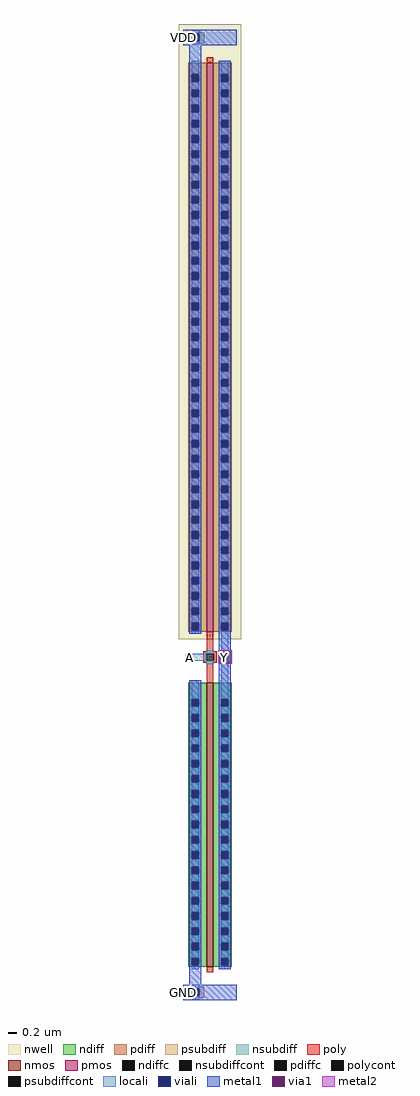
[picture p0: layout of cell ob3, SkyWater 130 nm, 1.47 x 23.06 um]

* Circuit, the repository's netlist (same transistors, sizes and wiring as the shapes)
* NGSPICE file created from ob3.ext - technology: sky130A

.subckt ob3 A Y VDD GND
X0 Y A GND GND sky130_fd_pr__nfet_01v8 ad=2.9568 pd=14.32 as=2.9568 ps=14.32 w=6.72 l=0.15
X1 Y A VDD VDD sky130_fd_pr__pfet_01v8 ad=5.9136 pd=27.76 as=5.9136 ps=27.76 w=13.44 l=0.15
.ends

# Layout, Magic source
magic
tech sky130A
magscale 1 2
<< nwell >>
rect 0 1668 294 4576
<< nmos >>
rect 132 120 162 1464
<< pmos >>
rect 132 1704 162 4392
<< ndiff >>
rect 44 1386 132 1464
rect 44 1352 60 1386
rect 94 1352 132 1386
rect 44 1314 132 1352
rect 44 1280 60 1314
rect 94 1280 132 1314
rect 44 1242 132 1280
rect 44 1208 60 1242
rect 94 1208 132 1242
rect 44 1170 132 1208
rect 44 1136 60 1170
rect 94 1136 132 1170
rect 44 1098 132 1136
rect 44 1064 60 1098
rect 94 1064 132 1098
rect 44 1026 132 1064
rect 44 992 60 1026
rect 94 992 132 1026
rect 44 954 132 992
rect 44 920 60 954
rect 94 920 132 954
rect 44 882 132 920
rect 44 848 60 882
rect 94 848 132 882
rect 44 810 132 848
rect 44 776 60 810
rect 94 776 132 810
rect 44 738 132 776
rect 44 704 60 738
rect 94 704 132 738
rect 44 666 132 704
rect 44 632 60 666
rect 94 632 132 666
rect 44 594 132 632
rect 44 560 60 594
rect 94 560 132 594
rect 44 522 132 560
rect 44 488 60 522
rect 94 488 132 522
rect 44 450 132 488
rect 44 416 60 450
rect 94 416 132 450
rect 44 378 132 416
rect 44 344 60 378
rect 94 344 132 378
rect 44 306 132 344
rect 44 272 60 306
rect 94 272 132 306
rect 44 234 132 272
rect 44 200 60 234
rect 94 200 132 234
rect 44 162 132 200
rect 44 128 60 162
rect 94 128 132 162
rect 44 120 132 128
rect 162 1386 250 1464
rect 162 1352 200 1386
rect 234 1352 250 1386
rect 162 1314 250 1352
rect 162 1280 200 1314
rect 234 1280 250 1314
rect 162 1242 250 1280
rect 162 1208 200 1242
rect 234 1208 250 1242
rect 162 1170 250 1208
rect 162 1136 200 1170
rect 234 1136 250 1170
rect 162 1098 250 1136
rect 162 1064 200 1098
rect 234 1064 250 1098
rect 162 1026 250 1064
rect 162 992 200 1026
rect 234 992 250 1026
rect 162 954 250 992
rect 162 920 200 954
rect 234 920 250 954
rect 162 882 250 920
rect 162 848 200 882
rect 234 848 250 882
rect 162 810 250 848
rect 162 776 200 810
rect 234 776 250 810
rect 162 738 250 776
rect 162 704 200 738
rect 234 704 250 738
rect 162 666 250 704
rect 162 632 200 666
rect 234 632 250 666
rect 162 594 250 632
rect 162 560 200 594
rect 234 560 250 594
rect 162 522 250 560
rect 162 488 200 522
rect 234 488 250 522
rect 162 450 250 488
rect 162 416 200 450
rect 234 416 250 450
rect 162 378 250 416
rect 162 344 200 378
rect 234 344 250 378
rect 162 306 250 344
rect 162 272 200 306
rect 234 272 250 306
rect 162 234 250 272
rect 162 200 200 234
rect 234 200 250 234
rect 162 162 250 200
rect 162 128 200 162
rect 234 128 250 162
rect 162 120 250 128
<< pdiff >>
rect 44 4338 132 4392
rect 44 4304 60 4338
rect 94 4304 132 4338
rect 44 4266 132 4304
rect 44 4232 60 4266
rect 94 4232 132 4266
rect 44 4194 132 4232
rect 44 4160 60 4194
rect 94 4160 132 4194
rect 44 4122 132 4160
rect 44 4088 60 4122
rect 94 4088 132 4122
rect 44 4050 132 4088
rect 44 4016 60 4050
rect 94 4016 132 4050
rect 44 3978 132 4016
rect 44 3944 60 3978
rect 94 3944 132 3978
rect 44 3906 132 3944
rect 44 3872 60 3906
rect 94 3872 132 3906
rect 44 3834 132 3872
rect 44 3800 60 3834
rect 94 3800 132 3834
rect 44 3762 132 3800
rect 44 3728 60 3762
rect 94 3728 132 3762
rect 44 3690 132 3728
rect 44 3656 60 3690
rect 94 3656 132 3690
rect 44 3618 132 3656
rect 44 3584 60 3618
rect 94 3584 132 3618
rect 44 3546 132 3584
rect 44 3512 60 3546
rect 94 3512 132 3546
rect 44 3474 132 3512
rect 44 3440 60 3474
rect 94 3440 132 3474
rect 44 3402 132 3440
rect 44 3368 60 3402
rect 94 3368 132 3402
rect 44 3330 132 3368
rect 44 3296 60 3330
rect 94 3296 132 3330
rect 44 3258 132 3296
rect 44 3224 60 3258
rect 94 3224 132 3258
rect 44 3186 132 3224
rect 44 3152 60 3186
rect 94 3152 132 3186
rect 44 3114 132 3152
rect 44 3080 60 3114
rect 94 3080 132 3114
rect 44 3042 132 3080
rect 44 3008 60 3042
rect 94 3008 132 3042
rect 44 2970 132 3008
rect 44 2936 60 2970
rect 94 2936 132 2970
rect 44 2898 132 2936
rect 44 2864 60 2898
rect 94 2864 132 2898
rect 44 2826 132 2864
rect 44 2792 60 2826
rect 94 2792 132 2826
rect 44 2754 132 2792
rect 44 2720 60 2754
rect 94 2720 132 2754
rect 44 2682 132 2720
rect 44 2648 60 2682
rect 94 2648 132 2682
rect 44 2610 132 2648
rect 44 2576 60 2610
rect 94 2576 132 2610
rect 44 2538 132 2576
rect 44 2504 60 2538
rect 94 2504 132 2538
rect 44 2466 132 2504
rect 44 2432 60 2466
rect 94 2432 132 2466
rect 44 2394 132 2432
rect 44 2360 60 2394
rect 94 2360 132 2394
rect 44 2322 132 2360
rect 44 2288 60 2322
rect 94 2288 132 2322
rect 44 2250 132 2288
rect 44 2216 60 2250
rect 94 2216 132 2250
rect 44 2178 132 2216
rect 44 2144 60 2178
rect 94 2144 132 2178
rect 44 2106 132 2144
rect 44 2072 60 2106
rect 94 2072 132 2106
rect 44 2034 132 2072
rect 44 2000 60 2034
rect 94 2000 132 2034
rect 44 1962 132 2000
rect 44 1928 60 1962
rect 94 1928 132 1962
rect 44 1890 132 1928
rect 44 1856 60 1890
rect 94 1856 132 1890
rect 44 1818 132 1856
rect 44 1784 60 1818
rect 94 1784 132 1818
rect 44 1746 132 1784
rect 44 1712 60 1746
rect 94 1712 132 1746
rect 44 1704 132 1712
rect 162 4338 250 4392
rect 162 4304 200 4338
rect 234 4304 250 4338
rect 162 4266 250 4304
rect 162 4232 200 4266
rect 234 4232 250 4266
rect 162 4194 250 4232
rect 162 4160 200 4194
rect 234 4160 250 4194
rect 162 4122 250 4160
rect 162 4088 200 4122
rect 234 4088 250 4122
rect 162 4050 250 4088
rect 162 4016 200 4050
rect 234 4016 250 4050
rect 162 3978 250 4016
rect 162 3944 200 3978
rect 234 3944 250 3978
rect 162 3906 250 3944
rect 162 3872 200 3906
rect 234 3872 250 3906
rect 162 3834 250 3872
rect 162 3800 200 3834
rect 234 3800 250 3834
rect 162 3762 250 3800
rect 162 3728 200 3762
rect 234 3728 250 3762
rect 162 3690 250 3728
rect 162 3656 200 3690
rect 234 3656 250 3690
rect 162 3618 250 3656
rect 162 3584 200 3618
rect 234 3584 250 3618
rect 162 3546 250 3584
rect 162 3512 200 3546
rect 234 3512 250 3546
rect 162 3474 250 3512
rect 162 3440 200 3474
rect 234 3440 250 3474
rect 162 3402 250 3440
rect 162 3368 200 3402
rect 234 3368 250 3402
rect 162 3330 250 3368
rect 162 3296 200 3330
rect 234 3296 250 3330
rect 162 3258 250 3296
rect 162 3224 200 3258
rect 234 3224 250 3258
rect 162 3186 250 3224
rect 162 3152 200 3186
rect 234 3152 250 3186
rect 162 3114 250 3152
rect 162 3080 200 3114
rect 234 3080 250 3114
rect 162 3042 250 3080
rect 162 3008 200 3042
rect 234 3008 250 3042
rect 162 2970 250 3008
rect 162 2936 200 2970
rect 234 2936 250 2970
rect 162 2898 250 2936
rect 162 2864 200 2898
rect 234 2864 250 2898
rect 162 2826 250 2864
rect 162 2792 200 2826
rect 234 2792 250 2826
rect 162 2754 250 2792
rect 162 2720 200 2754
rect 234 2720 250 2754
rect 162 2682 250 2720
rect 162 2648 200 2682
rect 234 2648 250 2682
rect 162 2610 250 2648
rect 162 2576 200 2610
rect 234 2576 250 2610
rect 162 2538 250 2576
rect 162 2504 200 2538
rect 234 2504 250 2538
rect 162 2466 250 2504
rect 162 2432 200 2466
rect 234 2432 250 2466
rect 162 2394 250 2432
rect 162 2360 200 2394
rect 234 2360 250 2394
rect 162 2322 250 2360
rect 162 2288 200 2322
rect 234 2288 250 2322
rect 162 2250 250 2288
rect 162 2216 200 2250
rect 234 2216 250 2250
rect 162 2178 250 2216
rect 162 2144 200 2178
rect 234 2144 250 2178
rect 162 2106 250 2144
rect 162 2072 200 2106
rect 234 2072 250 2106
rect 162 2034 250 2072
rect 162 2000 200 2034
rect 234 2000 250 2034
rect 162 1962 250 2000
rect 162 1928 200 1962
rect 234 1928 250 1962
rect 162 1890 250 1928
rect 162 1856 200 1890
rect 234 1856 250 1890
rect 162 1818 250 1856
rect 162 1784 200 1818
rect 234 1784 250 1818
rect 162 1746 250 1784
rect 162 1712 200 1746
rect 234 1712 250 1746
rect 162 1704 250 1712
<< ndiffc >>
rect 60 1352 94 1386
rect 60 1280 94 1314
rect 60 1208 94 1242
rect 60 1136 94 1170
rect 60 1064 94 1098
rect 60 992 94 1026
rect 60 920 94 954
rect 60 848 94 882
rect 60 776 94 810
rect 60 704 94 738
rect 60 632 94 666
rect 60 560 94 594
rect 60 488 94 522
rect 60 416 94 450
rect 60 344 94 378
rect 60 272 94 306
rect 60 200 94 234
rect 60 128 94 162
rect 200 1352 234 1386
rect 200 1280 234 1314
rect 200 1208 234 1242
rect 200 1136 234 1170
rect 200 1064 234 1098
rect 200 992 234 1026
rect 200 920 234 954
rect 200 848 234 882
rect 200 776 234 810
rect 200 704 234 738
rect 200 632 234 666
rect 200 560 234 594
rect 200 488 234 522
rect 200 416 234 450
rect 200 344 234 378
rect 200 272 234 306
rect 200 200 234 234
rect 200 128 234 162
<< pdiffc >>
rect 60 4304 94 4338
rect 60 4232 94 4266
rect 60 4160 94 4194
rect 60 4088 94 4122
rect 60 4016 94 4050
rect 60 3944 94 3978
rect 60 3872 94 3906
rect 60 3800 94 3834
rect 60 3728 94 3762
rect 60 3656 94 3690
rect 60 3584 94 3618
rect 60 3512 94 3546
rect 60 3440 94 3474
rect 60 3368 94 3402
rect 60 3296 94 3330
rect 60 3224 94 3258
rect 60 3152 94 3186
rect 60 3080 94 3114
rect 60 3008 94 3042
rect 60 2936 94 2970
rect 60 2864 94 2898
rect 60 2792 94 2826
rect 60 2720 94 2754
rect 60 2648 94 2682
rect 60 2576 94 2610
rect 60 2504 94 2538
rect 60 2432 94 2466
rect 60 2360 94 2394
rect 60 2288 94 2322
rect 60 2216 94 2250
rect 60 2144 94 2178
rect 60 2072 94 2106
rect 60 2000 94 2034
rect 60 1928 94 1962
rect 60 1856 94 1890
rect 60 1784 94 1818
rect 60 1712 94 1746
rect 200 4304 234 4338
rect 200 4232 234 4266
rect 200 4160 234 4194
rect 200 4088 234 4122
rect 200 4016 234 4050
rect 200 3944 234 3978
rect 200 3872 234 3906
rect 200 3800 234 3834
rect 200 3728 234 3762
rect 200 3656 234 3690
rect 200 3584 234 3618
rect 200 3512 234 3546
rect 200 3440 234 3474
rect 200 3368 234 3402
rect 200 3296 234 3330
rect 200 3224 234 3258
rect 200 3152 234 3186
rect 200 3080 234 3114
rect 200 3008 234 3042
rect 200 2936 234 2970
rect 200 2864 234 2898
rect 200 2792 234 2826
rect 200 2720 234 2754
rect 200 2648 234 2682
rect 200 2576 234 2610
rect 200 2504 234 2538
rect 200 2432 234 2466
rect 200 2360 234 2394
rect 200 2288 234 2322
rect 200 2216 234 2250
rect 200 2144 234 2178
rect 200 2072 234 2106
rect 200 2000 234 2034
rect 200 1928 234 1962
rect 200 1856 234 1890
rect 200 1784 234 1818
rect 200 1712 234 1746
<< psubdiff >>
rect 39 17 121 26
rect 39 -17 63 17
rect 97 -17 121 17
rect 39 -26 121 -17
<< nsubdiff >>
rect 39 4529 121 4538
rect 39 4495 63 4529
rect 97 4495 121 4529
rect 39 4486 121 4495
<< psubdiffcont >>
rect 63 -17 97 17
<< nsubdiffcont >>
rect 63 4495 97 4529
<< poly >>
rect 132 4392 162 4418
rect 132 1611 162 1704
rect 114 1601 180 1611
rect 114 1567 130 1601
rect 164 1567 180 1601
rect 114 1557 180 1567
rect 132 1464 162 1557
rect 132 94 162 120
<< polycont >>
rect 130 1567 164 1601
<< locali >>
rect 63 4529 97 4547
rect 63 4477 97 4495
rect 60 4338 94 4402
rect 60 4266 94 4304
rect 60 4194 94 4232
rect 60 4122 94 4160
rect 60 4050 94 4088
rect 60 3978 94 4016
rect 60 3906 94 3944
rect 60 3834 94 3872
rect 60 3762 94 3800
rect 60 3690 94 3728
rect 60 3618 94 3656
rect 60 3546 94 3584
rect 60 3474 94 3512
rect 60 3402 94 3440
rect 60 3330 94 3368
rect 60 3258 94 3296
rect 60 3186 94 3224
rect 60 3114 94 3152
rect 60 3042 94 3080
rect 60 2970 94 3008
rect 60 2898 94 2936
rect 60 2826 94 2864
rect 60 2754 94 2792
rect 60 2682 94 2720
rect 60 2610 94 2648
rect 60 2538 94 2576
rect 60 2466 94 2504
rect 60 2394 94 2432
rect 60 2322 94 2360
rect 60 2250 94 2288
rect 60 2178 94 2216
rect 60 2106 94 2144
rect 60 2034 94 2072
rect 60 1962 94 2000
rect 60 1890 94 1928
rect 60 1818 94 1856
rect 60 1746 94 1784
rect 60 1694 94 1712
rect 200 4338 234 4402
rect 200 4266 234 4304
rect 200 4194 234 4232
rect 200 4122 234 4160
rect 200 4050 234 4088
rect 200 3978 234 4016
rect 200 3906 234 3944
rect 200 3834 234 3872
rect 200 3762 234 3800
rect 200 3690 234 3728
rect 200 3618 234 3656
rect 200 3546 234 3584
rect 200 3474 234 3512
rect 200 3402 234 3440
rect 200 3330 234 3368
rect 200 3258 234 3296
rect 200 3186 234 3224
rect 200 3114 234 3152
rect 200 3042 234 3080
rect 200 2970 234 3008
rect 200 2898 234 2936
rect 200 2826 234 2864
rect 200 2754 234 2792
rect 200 2682 234 2720
rect 200 2610 234 2648
rect 200 2538 234 2576
rect 200 2466 234 2504
rect 200 2394 234 2432
rect 200 2322 234 2360
rect 200 2250 234 2288
rect 200 2178 234 2216
rect 200 2106 234 2144
rect 200 2034 234 2072
rect 200 1962 234 2000
rect 200 1890 234 1928
rect 200 1818 234 1856
rect 200 1746 234 1784
rect 130 1601 164 1617
rect 33 1567 130 1601
rect 130 1551 164 1567
rect 60 1386 94 1474
rect 60 1314 94 1352
rect 60 1242 94 1280
rect 60 1170 94 1208
rect 60 1098 94 1136
rect 60 1026 94 1064
rect 60 954 94 992
rect 60 882 94 920
rect 60 810 94 848
rect 60 738 94 776
rect 60 666 94 704
rect 60 594 94 632
rect 60 522 94 560
rect 60 450 94 488
rect 60 378 94 416
rect 60 306 94 344
rect 60 234 94 272
rect 60 162 94 200
rect 60 110 94 128
rect 200 1386 234 1712
rect 200 1314 234 1352
rect 200 1242 234 1280
rect 200 1170 234 1208
rect 200 1098 234 1136
rect 200 1026 234 1064
rect 200 954 234 992
rect 200 882 234 920
rect 200 810 234 848
rect 200 738 234 776
rect 200 666 234 704
rect 200 594 234 632
rect 200 522 234 560
rect 200 450 234 488
rect 200 378 234 416
rect 200 306 234 344
rect 200 234 234 272
rect 200 162 234 200
rect 200 110 234 128
rect 63 17 97 35
rect 63 -35 97 -17
<< viali >>
rect 63 4495 97 4529
rect 60 4304 94 4338
rect 60 4232 94 4266
rect 60 4160 94 4194
rect 60 4088 94 4122
rect 60 4016 94 4050
rect 60 3944 94 3978
rect 60 3872 94 3906
rect 60 3800 94 3834
rect 60 3728 94 3762
rect 60 3656 94 3690
rect 60 3584 94 3618
rect 60 3512 94 3546
rect 60 3440 94 3474
rect 60 3368 94 3402
rect 60 3296 94 3330
rect 60 3224 94 3258
rect 60 3152 94 3186
rect 60 3080 94 3114
rect 60 3008 94 3042
rect 60 2936 94 2970
rect 60 2864 94 2898
rect 60 2792 94 2826
rect 60 2720 94 2754
rect 60 2648 94 2682
rect 60 2576 94 2610
rect 60 2504 94 2538
rect 60 2432 94 2466
rect 60 2360 94 2394
rect 60 2288 94 2322
rect 60 2216 94 2250
rect 60 2144 94 2178
rect 60 2072 94 2106
rect 60 2000 94 2034
rect 60 1928 94 1962
rect 60 1856 94 1890
rect 60 1784 94 1818
rect 60 1712 94 1746
rect 200 4304 234 4338
rect 200 4232 234 4266
rect 200 4160 234 4194
rect 200 4088 234 4122
rect 200 4016 234 4050
rect 200 3944 234 3978
rect 200 3872 234 3906
rect 200 3800 234 3834
rect 200 3728 234 3762
rect 200 3656 234 3690
rect 200 3584 234 3618
rect 200 3512 234 3546
rect 200 3440 234 3474
rect 200 3368 234 3402
rect 200 3296 234 3330
rect 200 3224 234 3258
rect 200 3152 234 3186
rect 200 3080 234 3114
rect 200 3008 234 3042
rect 200 2936 234 2970
rect 200 2864 234 2898
rect 200 2792 234 2826
rect 200 2720 234 2754
rect 200 2648 234 2682
rect 200 2576 234 2610
rect 200 2504 234 2538
rect 200 2432 234 2466
rect 200 2360 234 2394
rect 200 2288 234 2322
rect 200 2216 234 2250
rect 200 2144 234 2178
rect 200 2072 234 2106
rect 200 2000 234 2034
rect 200 1928 234 1962
rect 200 1856 234 1890
rect 200 1784 234 1818
rect 200 1712 234 1746
rect 60 1352 94 1386
rect 60 1280 94 1314
rect 60 1208 94 1242
rect 60 1136 94 1170
rect 60 1064 94 1098
rect 60 992 94 1026
rect 60 920 94 954
rect 60 848 94 882
rect 60 776 94 810
rect 60 704 94 738
rect 60 632 94 666
rect 60 560 94 594
rect 60 488 94 522
rect 60 416 94 450
rect 60 344 94 378
rect 60 272 94 306
rect 60 200 94 234
rect 60 128 94 162
rect 200 1352 234 1386
rect 200 1280 234 1314
rect 200 1208 234 1242
rect 200 1136 234 1170
rect 200 1064 234 1098
rect 200 992 234 1026
rect 200 920 234 954
rect 200 848 234 882
rect 200 776 234 810
rect 200 704 234 738
rect 200 632 234 666
rect 200 560 234 594
rect 200 488 234 522
rect 200 416 234 450
rect 200 344 234 378
rect 200 272 234 306
rect 200 200 234 234
rect 200 128 234 162
rect 63 -17 97 17
<< metal1 >>
rect 20 4529 274 4548
rect 20 4495 63 4529
rect 97 4495 274 4529
rect 20 4476 274 4495
rect 49 4338 105 4476
rect 49 4304 60 4338
rect 94 4304 105 4338
rect 49 4266 105 4304
rect 49 4232 60 4266
rect 94 4232 105 4266
rect 49 4194 105 4232
rect 49 4160 60 4194
rect 94 4160 105 4194
rect 49 4122 105 4160
rect 49 4088 60 4122
rect 94 4088 105 4122
rect 49 4050 105 4088
rect 49 4016 60 4050
rect 94 4016 105 4050
rect 49 3978 105 4016
rect 49 3944 60 3978
rect 94 3944 105 3978
rect 49 3906 105 3944
rect 49 3872 60 3906
rect 94 3872 105 3906
rect 49 3834 105 3872
rect 49 3800 60 3834
rect 94 3800 105 3834
rect 49 3762 105 3800
rect 49 3728 60 3762
rect 94 3728 105 3762
rect 49 3690 105 3728
rect 49 3656 60 3690
rect 94 3656 105 3690
rect 49 3618 105 3656
rect 49 3584 60 3618
rect 94 3584 105 3618
rect 49 3546 105 3584
rect 49 3512 60 3546
rect 94 3512 105 3546
rect 49 3474 105 3512
rect 49 3440 60 3474
rect 94 3440 105 3474
rect 49 3402 105 3440
rect 49 3368 60 3402
rect 94 3368 105 3402
rect 49 3330 105 3368
rect 49 3296 60 3330
rect 94 3296 105 3330
rect 49 3258 105 3296
rect 49 3224 60 3258
rect 94 3224 105 3258
rect 49 3186 105 3224
rect 49 3152 60 3186
rect 94 3152 105 3186
rect 49 3114 105 3152
rect 49 3080 60 3114
rect 94 3080 105 3114
rect 49 3042 105 3080
rect 49 3008 60 3042
rect 94 3008 105 3042
rect 49 2970 105 3008
rect 49 2936 60 2970
rect 94 2936 105 2970
rect 49 2898 105 2936
rect 49 2864 60 2898
rect 94 2864 105 2898
rect 49 2826 105 2864
rect 49 2792 60 2826
rect 94 2792 105 2826
rect 49 2754 105 2792
rect 49 2720 60 2754
rect 94 2720 105 2754
rect 49 2682 105 2720
rect 49 2648 60 2682
rect 94 2648 105 2682
rect 49 2610 105 2648
rect 49 2576 60 2610
rect 94 2576 105 2610
rect 49 2538 105 2576
rect 49 2504 60 2538
rect 94 2504 105 2538
rect 49 2466 105 2504
rect 49 2432 60 2466
rect 94 2432 105 2466
rect 49 2394 105 2432
rect 49 2360 60 2394
rect 94 2360 105 2394
rect 49 2322 105 2360
rect 49 2288 60 2322
rect 94 2288 105 2322
rect 49 2250 105 2288
rect 49 2216 60 2250
rect 94 2216 105 2250
rect 49 2178 105 2216
rect 49 2144 60 2178
rect 94 2144 105 2178
rect 49 2106 105 2144
rect 49 2072 60 2106
rect 94 2072 105 2106
rect 49 2034 105 2072
rect 49 2000 60 2034
rect 94 2000 105 2034
rect 49 1962 105 2000
rect 49 1928 60 1962
rect 94 1928 105 1962
rect 49 1890 105 1928
rect 49 1856 60 1890
rect 94 1856 105 1890
rect 49 1818 105 1856
rect 49 1784 60 1818
rect 94 1784 105 1818
rect 49 1746 105 1784
rect 49 1712 60 1746
rect 94 1712 105 1746
rect 49 1694 105 1712
rect 189 4338 245 4402
rect 189 4304 200 4338
rect 234 4304 245 4338
rect 189 4266 245 4304
rect 189 4232 200 4266
rect 234 4232 245 4266
rect 189 4194 245 4232
rect 189 4160 200 4194
rect 234 4160 245 4194
rect 189 4122 245 4160
rect 189 4088 200 4122
rect 234 4088 245 4122
rect 189 4050 245 4088
rect 189 4016 200 4050
rect 234 4016 245 4050
rect 189 3978 245 4016
rect 189 3944 200 3978
rect 234 3944 245 3978
rect 189 3906 245 3944
rect 189 3872 200 3906
rect 234 3872 245 3906
rect 189 3834 245 3872
rect 189 3800 200 3834
rect 234 3800 245 3834
rect 189 3762 245 3800
rect 189 3728 200 3762
rect 234 3728 245 3762
rect 189 3690 245 3728
rect 189 3656 200 3690
rect 234 3656 245 3690
rect 189 3618 245 3656
rect 189 3584 200 3618
rect 234 3584 245 3618
rect 189 3546 245 3584
rect 189 3512 200 3546
rect 234 3512 245 3546
rect 189 3474 245 3512
rect 189 3440 200 3474
rect 234 3440 245 3474
rect 189 3402 245 3440
rect 189 3368 200 3402
rect 234 3368 245 3402
rect 189 3330 245 3368
rect 189 3296 200 3330
rect 234 3296 245 3330
rect 189 3258 245 3296
rect 189 3224 200 3258
rect 234 3224 245 3258
rect 189 3186 245 3224
rect 189 3152 200 3186
rect 234 3152 245 3186
rect 189 3114 245 3152
rect 189 3080 200 3114
rect 234 3080 245 3114
rect 189 3042 245 3080
rect 189 3008 200 3042
rect 234 3008 245 3042
rect 189 2970 245 3008
rect 189 2936 200 2970
rect 234 2936 245 2970
rect 189 2898 245 2936
rect 189 2864 200 2898
rect 234 2864 245 2898
rect 189 2826 245 2864
rect 189 2792 200 2826
rect 234 2792 245 2826
rect 189 2754 245 2792
rect 189 2720 200 2754
rect 234 2720 245 2754
rect 189 2682 245 2720
rect 189 2648 200 2682
rect 234 2648 245 2682
rect 189 2610 245 2648
rect 189 2576 200 2610
rect 234 2576 245 2610
rect 189 2538 245 2576
rect 189 2504 200 2538
rect 234 2504 245 2538
rect 189 2466 245 2504
rect 189 2432 200 2466
rect 234 2432 245 2466
rect 189 2394 245 2432
rect 189 2360 200 2394
rect 234 2360 245 2394
rect 189 2322 245 2360
rect 189 2288 200 2322
rect 234 2288 245 2322
rect 189 2250 245 2288
rect 189 2216 200 2250
rect 234 2216 245 2250
rect 189 2178 245 2216
rect 189 2144 200 2178
rect 234 2144 245 2178
rect 189 2106 245 2144
rect 189 2072 200 2106
rect 234 2072 245 2106
rect 189 2034 245 2072
rect 189 2000 200 2034
rect 234 2000 245 2034
rect 189 1962 245 2000
rect 189 1928 200 1962
rect 234 1928 245 1962
rect 189 1890 245 1928
rect 189 1856 200 1890
rect 234 1856 245 1890
rect 189 1818 245 1856
rect 189 1784 200 1818
rect 234 1784 245 1818
rect 189 1746 245 1784
rect 189 1712 200 1746
rect 234 1712 245 1746
rect 189 1616 245 1712
rect 185 1610 249 1616
rect 185 1558 191 1610
rect 243 1558 249 1610
rect 185 1552 249 1558
rect 49 1386 105 1474
rect 49 1352 60 1386
rect 94 1352 105 1386
rect 49 1314 105 1352
rect 49 1280 60 1314
rect 94 1280 105 1314
rect 49 1242 105 1280
rect 49 1208 60 1242
rect 94 1208 105 1242
rect 49 1170 105 1208
rect 49 1136 60 1170
rect 94 1136 105 1170
rect 49 1098 105 1136
rect 49 1064 60 1098
rect 94 1064 105 1098
rect 49 1026 105 1064
rect 49 992 60 1026
rect 94 992 105 1026
rect 49 954 105 992
rect 49 920 60 954
rect 94 920 105 954
rect 49 882 105 920
rect 49 848 60 882
rect 94 848 105 882
rect 49 810 105 848
rect 49 776 60 810
rect 94 776 105 810
rect 49 738 105 776
rect 49 704 60 738
rect 94 704 105 738
rect 49 666 105 704
rect 49 632 60 666
rect 94 632 105 666
rect 49 594 105 632
rect 49 560 60 594
rect 94 560 105 594
rect 49 522 105 560
rect 49 488 60 522
rect 94 488 105 522
rect 49 450 105 488
rect 49 416 60 450
rect 94 416 105 450
rect 49 378 105 416
rect 49 344 60 378
rect 94 344 105 378
rect 49 306 105 344
rect 49 272 60 306
rect 94 272 105 306
rect 49 234 105 272
rect 49 200 60 234
rect 94 200 105 234
rect 49 162 105 200
rect 49 128 60 162
rect 94 128 105 162
rect 49 36 105 128
rect 189 1386 245 1552
rect 189 1352 200 1386
rect 234 1352 245 1386
rect 189 1314 245 1352
rect 189 1280 200 1314
rect 234 1280 245 1314
rect 189 1242 245 1280
rect 189 1208 200 1242
rect 234 1208 245 1242
rect 189 1170 245 1208
rect 189 1136 200 1170
rect 234 1136 245 1170
rect 189 1098 245 1136
rect 189 1064 200 1098
rect 234 1064 245 1098
rect 189 1026 245 1064
rect 189 992 200 1026
rect 234 992 245 1026
rect 189 954 245 992
rect 189 920 200 954
rect 234 920 245 954
rect 189 882 245 920
rect 189 848 200 882
rect 234 848 245 882
rect 189 810 245 848
rect 189 776 200 810
rect 234 776 245 810
rect 189 738 245 776
rect 189 704 200 738
rect 234 704 245 738
rect 189 666 245 704
rect 189 632 200 666
rect 234 632 245 666
rect 189 594 245 632
rect 189 560 200 594
rect 234 560 245 594
rect 189 522 245 560
rect 189 488 200 522
rect 234 488 245 522
rect 189 450 245 488
rect 189 416 200 450
rect 234 416 245 450
rect 189 378 245 416
rect 189 344 200 378
rect 234 344 245 378
rect 189 306 245 344
rect 189 272 200 306
rect 234 272 245 306
rect 189 234 245 272
rect 189 200 200 234
rect 234 200 245 234
rect 189 162 245 200
rect 189 128 200 162
rect 234 128 245 162
rect 189 110 245 128
rect 20 17 274 36
rect 20 -17 63 17
rect 97 -17 274 17
rect 20 -36 274 -17
<< via1 >>
rect 191 1558 243 1610
<< metal2 >>
rect 187 1610 247 1616
rect 187 1558 191 1610
rect 243 1558 247 1610
rect 187 1552 247 1558
<< labels >>
rlabel locali 50 1584 50 1584 0 A
port 1 nsew
rlabel via1 217 1584 217 1584 0 Y
port 2 nsew
rlabel metal1 20 4512 20 4512 0 VDD
port 3 nsew
rlabel metal1 20 0 20 0 0 GND
port 4 nsew
<< end >>
